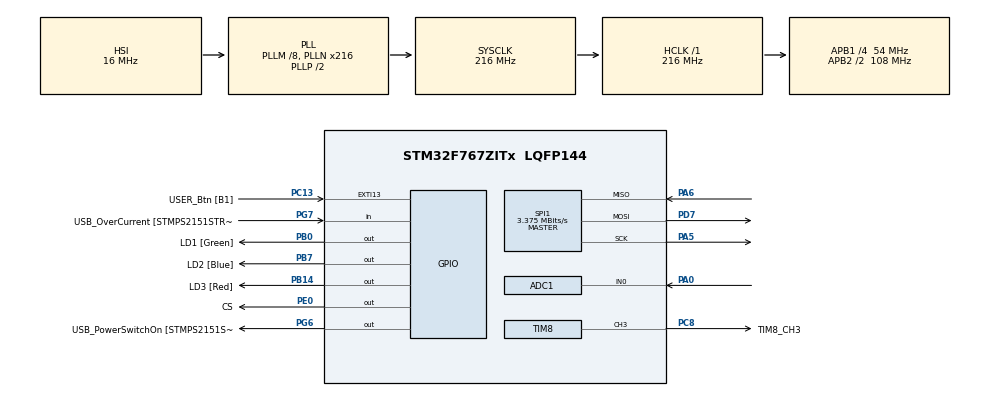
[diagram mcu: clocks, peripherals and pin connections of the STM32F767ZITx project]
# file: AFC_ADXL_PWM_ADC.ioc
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ADC1.Channel-0\#ChannelRegularConversion=ADC_CHANNEL_0
ADC1.ExternalTrigConv=ADC_EXTERNALTRIGCONV_T4_TRGO
ADC1.NbrOfConversionFlag=1
ADC1.Rank-0\#ChannelRegularConversion=1
ADC1.SamplingTime-0\#ChannelRegularConversion=ADC_SAMPLETIME_3CYCLES
ADC1.master=1
Dma.ADC1.0.Direction=DMA_PERIPH_TO_MEMORY
Dma.ADC1.0.FIFOMode=DMA_FIFOMODE_DISABLE
Dma.ADC1.0.Instance=DMA2_Stream0
Dma.ADC1.0.MemDataAlignment=DMA_MDATAALIGN_HALFWORD
Dma.ADC1.0.MemInc=DMA_MINC_ENABLE
Dma.ADC1.0.Mode=DMA_NORMAL
Dma.ADC1.0.PeriphDataAlignment=DMA_PDATAALIGN_HALFWORD
Dma.ADC1.0.PeriphInc=DMA_PINC_DISABLE
Dma.ADC1.0.Priority=DMA_PRIORITY_LOW
Dma.Request0=ADC1
FREERTOS.BinarySemaphores01=data_ready_sem,Dynamic,NULL,Available
FREERTOS.Mutexes01=buffer_mutex,Dynamic,NULL,Available
FREERTOS.Tasks01=defaultTask,24,128,StartDefaultTask,Default,NULL,Dynamic,NULL,NULL;ADC_Task,40,256,ADC_StartTask,Default,NULL,Dynamic,NULL,NULL;Ethernet_Task,32,256,Ethernet_StartTask,Default,NULL,Dynamic,NULL,NULL
FREERTOS.configUSE_NEWLIB_REENTRANT=1
Mcu.Family=STM32F7
Mcu.Name=STM32F767ZITx
Mcu.Package=LQFP144
NVIC.DMA2_Stream0_IRQn=true\:5\:0\:false\:false\:true\:true\:false\:true\:true
NVIC.PriorityGroup=NVIC_PRIORITYGROUP_4
NVIC.SPI1_IRQn=true\:5\:0\:false\:false\:true\:true\:true\:true\:true
NVIC.TIM2_IRQn=true\:5\:0\:false\:false\:true\:true\:true\:true\:true
NVIC.TIM3_IRQn=true\:6\:0\:true\:false\:true\:true\:true\:true\:true
NVIC.TIM6_DAC_IRQn=true\:15\:0\:false\:false\:true\:false\:false\:true\:true
NVIC.TimeBase=TIM6_DAC_IRQn
NVIC.TimeBaseIP=TIM6
PA0/WKUP.Signal=ADCx_IN0
PA1.GPIO_Label=RMII_REF_CLK [LAN8742A-CZ-TR_REFCLK0]
PA1.Signal=ETH_REF_CLK
PA10.GPIO_Label=USB_ID
PA10.Signal=USB_OTG_FS_ID
PA11.GPIO_Label=USB_DM
PA11.Signal=USB_OTG_FS_DM
PA12.GPIO_Label=USB_DP
PA12.Signal=USB_OTG_FS_DP
PA13.GPIO_Label=TMS
PA13.Signal=SYS_JTMS-SWDIO
PA14.GPIO_Label=TCK
PA14.Signal=SYS_JTCK-SWCLK
PA2.GPIO_Label=RMII_MDIO [LAN8742A-CZ-TR_MDIO]
PA2.Signal=ETH_MDIO
PA5.Mode=Full_Duplex_Master
PA5.Signal=SPI1_SCK
PA6.Mode=Full_Duplex_Master
PA6.Signal=SPI1_MISO
PA7.GPIO_Label=RMII_CRS_DV [LAN8742A-CZ-TR_CRS_DV]
PA7.Signal=ETH_CRS_DV
PA8.GPIO_Label=USB_SOF [TP1]
PA8.Signal=USB_OTG_FS_SOF
PA9.GPIO_Label=USB_VBUS
PA9.Signal=USB_OTG_FS_VBUS
PB0.GPIO_Label=LD1 [Green]
PB0.Signal=GPIO_Output
PB13.GPIO_Label=RMII_TXD1 [LAN8742A-CZ-TR_TXD1]
PB13.Signal=ETH_TXD1
PB14.GPIO_Label=LD3 [Red]
PB14.Signal=GPIO_Output
PB3.GPIO_Label=SW0
PB3.Signal=SYS_JTDO-SWO
PB7.GPIO_Label=LD2 [Blue]
PB7.Signal=GPIO_Output
PC1.GPIO_Label=RMII_MDC [LAN8742A-CZ-TR_MDC]
PC1.Signal=ETH_MDC
PC13.GPIO_Label=USER_Btn [B1]
PC13.Signal=GPXTI13
PC14/OSC32_IN.Signal=RCC_OSC32_IN
PC15/OSC32_OUT.Signal=RCC_OSC32_OUT
PC4.GPIO_Label=RMII_RXD0 [LAN8742A-CZ-TR_RXD0]
PC4.Signal=ETH_RXD0
PC5.GPIO_Label=RMII_RXD1 [LAN8742A-CZ-TR_RXD1]
PC5.Signal=ETH_RXD1
PC8.GPIO_Label=TIM8_CH3
PC8.GPIO_Speed=GPIO_SPEED_FREQ_HIGH
PC8.Signal=S_TIM8_CH3
PD7.Mode=Full_Duplex_Master
PD7.Signal=SPI1_MOSI
PD8.GPIO_Label=STLK_RX [STM32F103CBT6_PA3]
PD8.Signal=USART3_TX
PD9.GPIO_Label=STLK_TX [STM32F103CBT6_PA2]
PD9.Signal=USART3_RX
PE0.GPIO_Label=CS
PE0.Signal=GPIO_Output
PG11.GPIO_Label=RMII_TX_EN [LAN8742A-CZ-TR_TXEN]
PG11.Signal=ETH_TX_EN
PG13.GPIO_Label=RMII_TXD0 [LAN8742A-CZ-TR_TXD0]
PG13.Signal=ETH_TXD0
PG6.GPIO_Label=USB_PowerSwitchOn [STMPS2151STR_EN]
PG6.Signal=GPIO_Output
PG7.GPIO_Label=USB_OverCurrent [STMPS2151STR_FAULT]
PG7.Signal=GPIO_Input
PH0/OSC_IN.GPIO_Label=MCO [STM32F103CBT6_PA8]
PH0/OSC_IN.Signal=RCC_OSC_IN
PH1/OSC_OUT.Signal=RCC_OSC_OUT
ProjectManager.HeapSize=0x200
ProjectManager.StackSize=0x400
ProjectManager.TargetToolchain=STM32CubeIDE
RCC.48MHZClocksFreq_Value=24000000
RCC.AHBFreq_Value=216000000
RCC.APB1CLKDivider=RCC_HCLK_DIV4
RCC.APB1Freq_Value=54000000
RCC.APB1TimFreq_Value=108000000
RCC.APB2CLKDivider=RCC_HCLK_DIV2
RCC.APB2Freq_Value=108000000
RCC.APB2TimFreq_Value=216000000
RCC.CortexFreq_Value=216000000
RCC.HCLKFreq_Value=216000000
RCC.HSE_VALUE=16000000
RCC.HSI_VALUE=16000000
RCC.LSE_VALUE=32768
RCC.PLLM=8
RCC.PLLMUL=RCC_PLL_MUL9
RCC.PLLN=216
RCC.PRESCALERUSB=RCC_USBCLKSOURCE_PLL_DIV1_5
RCC.SYSCLKFreq_VALUE=216000000
RCC.SYSCLKSource=RCC_SYSCLKSOURCE_PLLCLK
RCC.SYSCLKSourceVirtual=RCC_SYSCLKSOURCE_PLLCLK
RCC.USBFreq_Value=216000000
RCC.VCOOutputFreq_Value=432000000
SH.ADCx_IN0.0=ADC1_IN0,IN0
SH.S_TIM8_CH3.0=TIM8_CH3,PWM Generation3 CH3
SPI1.BaudRatePrescaler=SPI_BAUDRATEPRESCALER_32
SPI1.CLKPhase=SPI_PHASE_2EDGE
SPI1.CLKPolarity=SPI_POLARITY_HIGH
SPI1.CalculateBaudRate=3.375 MBits/s
SPI1.DataSize=SPI_DATASIZE_8BIT
SPI1.Direction=SPI_DIRECTION_2LINES
SPI1.Mode=SPI_MODE_MASTER
SPI1.VirtualType=VM_MASTER
TIM2.Period=4
TIM2.Prescaler=10799
TIM3.AutoReloadPreload=TIM_AUTORELOAD_PRELOAD_ENABLE
TIM3.Period=312
TIM3.Prescaler=107
TIM3.TIM_MasterOutputTrigger=TIM_TRGO_UPDATE
TIM4.Period=19
TIM4.Prescaler=10799
TIM4.TIM_MasterOutputTrigger=TIM_TRGO_UPDATE
TIM8.AutoReloadPreload=TIM_AUTORELOAD_PRELOAD_ENABLE
TIM8.AutomaticOutput=TIM_AUTOMATICOUTPUT_DISABLE
TIM8.Channel-PWM\ Generation3\ CH3=TIM_CHANNEL_3
TIM8.OC3Preload_PWM=ENABLE
TIM8.OCFastMode_PWM-PWM\ Generation3\ CH3=TIM_OCFAST_ENABLE
TIM8.OCMode_PWM-PWM\ Generation3\ CH3=TIM_OCMODE_PWM1
TIM8.Period=99
TIM8.Prescaler=215
VP_FREERTOS_VS_CMSIS_V2.Mode=CMSIS_V2
VP_SYS_VS_tim6.Mode=TIM6
VP_TIM2_VS_ClockSourceINT.Mode=Internal
VP_TIM3_VS_ClockSourceINT.Mode=Internal
VP_TIM4_VS_ClockSourceINT.Mode=Internal
VP_TIM8_VS_ClockSourceINT.Mode=Internal
board=NUCLEO-F767ZI

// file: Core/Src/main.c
/* USER CODE BEGIN Header */
/**
  ******************************************************************************
  * @file           : main.c
  * @brief          : Main program body
  ******************************************************************************
  * @attention
  *
  * Copyright (c) 2025 STMicroelectronics.
  * All rights reserved.
  *
  * This software is licensed under terms that can be found in the LICENSE file
  * in the root directory of this software component.
  * If no LICENSE file comes with this software, it is provided AS-IS.
  *
  ******************************************************************************
  */
/* USER CODE END Header */
#include "main.h"
#include "cmsis_os.h"

/* USER CODE BEGIN Includes */
#include <string.h>
#include <stdio.h>
#include <stdbool.h>
#include "queue.h"
#include "semphr.h"

/* USER CODE END Includes */

/* USER CODE BEGIN PM */
// Double buffers for DMA ping-pong
uint8_t txBuf[7] = {0xF2, 0, 0, 0, 0, 0, 0};  // Read DATAX0
uint8_t rxBuf[7];

/* Buffer Definitions */
#define MINOR_CYCLES_PER_MAJOR 250  // 500ms/2ms

typedef struct {
    uint16_t data[MINOR_CYCLES_PER_MAJOR];
    uint16_t count;                 // Current fill level
    bool ready;                     // Buffer ready for processing
} ADC_Buffer_t;

// Double buffer declaration
ADC_Buffer_t adc_buffers[2];
volatile uint8_t active_buffer = 0;  // Currently filling buffer

#define SINE_SAMPLES 95  // Number of points in sine wave

const uint16_t sineLookup[SINE_SAMPLES] = {
    50, 53, 56, 59, 62, 65, 68, 71, 74, 77,
    80, 82, 85, 87, 89, 91, 93, 95, 96, 97,
    98, 99, 99, 99, 99, 99, 98, 97, 96, 95,
    93, 91, 89, 87, 85, 82, 80, 77, 74, 71,
    68, 65, 62, 59, 56, 53, 50, 47, 44, 41,
    38, 35, 32, 29, 26, 23, 20, 18, 15, 13,
    11, 9, 7, 6, 5, 4, 3, 2, 1, 1,
    1, 1, 1, 2, 3, 4, 5, 6, 7, 9,
    11, 13, 15, 18, 20, 23, 26, 29, 32, 35,
    38, 41, 44, 47, 50  // Back to start
};

/* USER CODE END PM */

ADC_HandleTypeDef hadc1;
DMA_HandleTypeDef hdma_adc1;

SPI_HandleTypeDef hspi1;

TIM_HandleTypeDef htim2;
TIM_HandleTypeDef htim3;
TIM_HandleTypeDef htim4;
TIM_HandleTypeDef htim8;

/* Definitions for defaultTask */
osThreadId_t defaultTaskHandle;
const osThreadAttr_t defaultTask_attributes = {
  .name = "defaultTask",
  .stack_size = 128 * 4,
  .priority = (osPriority_t) osPriorityNormal,
};
/* Definitions for ADC_Task */
osThreadId_t ADC_TaskHandle;
const osThreadAttr_t ADC_Task_attributes = {
  .name = "ADC_Task",
  .stack_size = 256 * 4,
  .priority = (osPriority_t) osPriorityHigh,
};
/* Definitions for Ethernet_Task */
osThreadId_t Ethernet_TaskHandle;
const osThreadAttr_t Ethernet_Task_attributes = {
  .name = "Ethernet_Task",
  .stack_size = 256 * 4,
  .priority = (osPriority_t) osPriorityAboveNormal,
};
/* Definitions for buffer_mutex */
osMutexId_t buffer_mutexHandle;
const osMutexAttr_t buffer_mutex_attributes = {
  .name = "buffer_mutex"
};
/* Definitions for data_ready_sem */
osSemaphoreId_t data_ready_semHandle;
const osSemaphoreAttr_t data_ready_sem_attributes = {
  .name = "data_ready_sem"
};

void SystemClock_Config(void);
static void MX_GPIO_Init(void);
static void MX_DMA_Init(void);
static void MX_SPI1_Init(void);
static void MX_TIM3_Init(void);
static void MX_TIM2_Init(void);
static void MX_TIM8_Init(void);
static void MX_ADC1_Init(void);
static void MX_TIM4_Init(void);
void StartDefaultTask(void *argument);
void ADC_StartTask(void *argument);
void Ethernet_StartTask(void *argument);

int main(void)
{

  /* MCU Configuration--------------------------------------------------------*/

  /* Reset of all peripherals, Initializes the Flash interface and the Systick. */
  HAL_Init();

  /* Configure the system clock */
  SystemClock_Config();

  /* Initialize all configured peripherals */
  MX_GPIO_Init();
  MX_DMA_Init();
  MX_SPI1_Init();
  MX_TIM3_Init();
  MX_TIM2_Init();
  MX_TIM8_Init();
  MX_ADC1_Init();
  MX_TIM4_Init();
  /* USER CODE BEGIN 2 */

  ADXL345_Init();

  //Test_ADXL345();

  HAL_TIM_Base_Start_IT(&htim3);  // Start TIM3 @ 3.2kHz

  // Start PWM (TIM8) and update timer (TIM2)

  HAL_TIM_PWM_Start(&htim8, TIM_CHANNEL_3);
  HAL_TIM_Base_Start_IT(&htim2);

  __HAL_TIM_SET_COMPARE(&htim8, TIM_CHANNEL_3, 50);

  HAL_TIM_Base_Start(&htim4);  // Start ADC trigger timer
  HAL_ADC_Start_DMA(&hadc1, (uint32_t*)adc_buffers, MINOR_CYCLES_PER_MAJOR);

  // Enable the CYCCNT counter

    CoreDebug->DEMCR |= CoreDebug_DEMCR_TRCENA_Msk;

    DWT->LAR = 0xC5ACCE55;

    DWT->CYCCNT = 0;

    DWT->CTRL |= DWT_CTRL_CYCCNTENA_Msk;
    NVIC_SetPriorityGrouping( 0 );

    //SEGGER_SYSVIEW_Conf();
    //SEGGER_SYSVIEW_Start();

  /* USER CODE END 2 */

  /* Init scheduler */
  osKernelInitialize();
  /* Create the mutex(es) */
  /* creation of buffer_mutex */
  buffer_mutexHandle = osMutexNew(&buffer_mutex_attributes);

  /* Create the semaphores(s) */
  /* creation of data_ready_sem */
  data_ready_semHandle = osSemaphoreNew(1, 1, &data_ready_sem_attributes);

  /* Create the thread(s) */
  /* creation of defaultTask */
  defaultTaskHandle = osThreadNew(StartDefaultTask, NULL, &defaultTask_attributes);

  /* creation of ADC_Task */
  ADC_TaskHandle = osThreadNew(ADC_StartTask, NULL, &ADC_Task_attributes);

  /* creation of Ethernet_Task */
  Ethernet_TaskHandle = osThreadNew(Ethernet_StartTask, NULL, &Ethernet_Task_attributes);

  /* Start scheduler */
  osKernelStart();

  /* We should never get here as control is now taken by the scheduler */

  /* Infinite loop */
  while (1)
  {

  }
}

void SystemClock_Config(void)
{
  RCC_OscInitTypeDef RCC_OscInitStruct = {0};
  RCC_ClkInitTypeDef RCC_ClkInitStruct = {0};

  /** Configure the main internal regulator output voltage
  */
  __HAL_RCC_PWR_CLK_ENABLE();
  __HAL_PWR_VOLTAGESCALING_CONFIG(PWR_REGULATOR_VOLTAGE_SCALE1);

  /** Initializes the RCC Oscillators according to the specified parameters
  * in the RCC_OscInitTypeDef structure.
  */
  RCC_OscInitStruct.OscillatorType = RCC_OSCILLATORTYPE_HSI;
  RCC_OscInitStruct.HSIState = RCC_HSI_ON;
  RCC_OscInitStruct.HSICalibrationValue = RCC_HSICALIBRATION_DEFAULT;
  RCC_OscInitStruct.PLL.PLLState = RCC_PLL_ON;
  RCC_OscInitStruct.PLL.PLLSource = RCC_PLLSOURCE_HSI;
  RCC_OscInitStruct.PLL.PLLM = 8;
  RCC_OscInitStruct.PLL.PLLN = 216;
  RCC_OscInitStruct.PLL.PLLP = RCC_PLLP_DIV2;
  RCC_OscInitStruct.PLL.PLLQ = 2;
  RCC_OscInitStruct.PLL.PLLR = 2;
  if (HAL_RCC_OscConfig(&RCC_OscInitStruct) != HAL_OK)
  {
    Error_Handler();
  }

  /** Activate the Over-Drive mode
  */
  if (HAL_PWREx_EnableOverDrive() != HAL_OK)
  {
    Error_Handler();
  }

  /** Initializes the CPU, AHB and APB buses clocks
  */
  RCC_ClkInitStruct.ClockType = RCC_CLOCKTYPE_HCLK|RCC_CLOCKTYPE_SYSCLK
                              |RCC_CLOCKTYPE_PCLK1|RCC_CLOCKTYPE_PCLK2;
  RCC_ClkInitStruct.SYSCLKSource = RCC_SYSCLKSOURCE_PLLCLK;
  RCC_ClkInitStruct.AHBCLKDivider = RCC_SYSCLK_DIV1;
  RCC_ClkInitStruct.APB1CLKDivider = RCC_HCLK_DIV4;
  RCC_ClkInitStruct.APB2CLKDivider = RCC_HCLK_DIV2;

  if (HAL_RCC_ClockConfig(&RCC_ClkInitStruct, FLASH_LATENCY_7) != HAL_OK)
  {
    Error_Handler();
  }
}

static void MX_ADC1_Init(void)
{

  ADC_ChannelConfTypeDef sConfig = {0};

  /** Configure the global features of the ADC (Clock, Resolution, Data Alignment and number of conversion)
  */
  hadc1.Instance = ADC1;
  hadc1.Init.ClockPrescaler = ADC_CLOCK_SYNC_PCLK_DIV4;
  hadc1.Init.Resolution = ADC_RESOLUTION_12B;
  hadc1.Init.ScanConvMode = ADC_SCAN_DISABLE;
  hadc1.Init.ContinuousConvMode = DISABLE;
  hadc1.Init.DiscontinuousConvMode = DISABLE;
  hadc1.Init.ExternalTrigConvEdge = ADC_EXTERNALTRIGCONVEDGE_RISING;
  hadc1.Init.ExternalTrigConv = ADC_EXTERNALTRIGCONV_T4_TRGO;
  hadc1.Init.DataAlign = ADC_DATAALIGN_RIGHT;
  hadc1.Init.NbrOfConversion = 1;
  hadc1.Init.DMAContinuousRequests = DISABLE;
  hadc1.Init.EOCSelection = ADC_EOC_SINGLE_CONV;
  if (HAL_ADC_Init(&hadc1) != HAL_OK)
  {
    Error_Handler();
  }

  /** Configure for the selected ADC regular channel its corresponding rank in the sequencer and its sample time.
  */
  sConfig.Channel = ADC_CHANNEL_0;
  sConfig.Rank = ADC_REGULAR_RANK_1;
  sConfig.SamplingTime = ADC_SAMPLETIME_3CYCLES;
  if (HAL_ADC_ConfigChannel(&hadc1, &sConfig) != HAL_OK)
  {
    Error_Handler();
  }

}

static void MX_SPI1_Init(void)
{

  /* SPI1 parameter configuration*/
  hspi1.Instance = SPI1;
  hspi1.Init.Mode = SPI_MODE_MASTER;
  hspi1.Init.Direction = SPI_DIRECTION_2LINES;
  hspi1.Init.DataSize = SPI_DATASIZE_8BIT;
  hspi1.Init.CLKPolarity = SPI_POLARITY_HIGH;
  hspi1.Init.CLKPhase = SPI_PHASE_2EDGE;
  hspi1.Init.NSS = SPI_NSS_SOFT;
  hspi1.Init.BaudRatePrescaler = SPI_BAUDRATEPRESCALER_32;
  hspi1.Init.FirstBit = SPI_FIRSTBIT_MSB;
  hspi1.Init.TIMode = SPI_TIMODE_DISABLE;
  hspi1.Init.CRCCalculation = SPI_CRCCALCULATION_DISABLE;
  hspi1.Init.CRCPolynomial = 7;
  hspi1.Init.CRCLength = SPI_CRC_LENGTH_DATASIZE;
  hspi1.Init.NSSPMode = SPI_NSS_PULSE_DISABLE;
  if (HAL_SPI_Init(&hspi1) != HAL_OK)
  {
    Error_Handler();
  }

}

static void MX_TIM2_Init(void)
{

  TIM_ClockConfigTypeDef sClockSourceConfig = {0};
  TIM_MasterConfigTypeDef sMasterConfig = {0};

  htim2.Instance = TIM2;
  htim2.Init.Prescaler = 10799;
  htim2.Init.CounterMode = TIM_COUNTERMODE_UP;
  htim2.Init.Period = 4;
  htim2.Init.ClockDivision = TIM_CLOCKDIVISION_DIV1;
  htim2.Init.AutoReloadPreload = TIM_AUTORELOAD_PRELOAD_DISABLE;
  if (HAL_TIM_Base_Init(&htim2) != HAL_OK)
  {
    Error_Handler();
  }
  sClockSourceConfig.ClockSource = TIM_CLOCKSOURCE_INTERNAL;
  if (HAL_TIM_ConfigClockSource(&htim2, &sClockSourceConfig) != HAL_OK)
  {
    Error_Handler();
  }
  sMasterConfig.MasterOutputTrigger = TIM_TRGO_RESET;
  sMasterConfig.MasterSlaveMode = TIM_MASTERSLAVEMODE_DISABLE;
  if (HAL_TIMEx_MasterConfigSynchronization(&htim2, &sMasterConfig) != HAL_OK)
  {
    Error_Handler();
  }

}

static void MX_TIM3_Init(void)
{

  TIM_ClockConfigTypeDef sClockSourceConfig = {0};
  TIM_MasterConfigTypeDef sMasterConfig = {0};

  htim3.Instance = TIM3;
  htim3.Init.Prescaler = 107;
  htim3.Init.CounterMode = TIM_COUNTERMODE_UP;
  htim3.Init.Period = 312;
  htim3.Init.ClockDivision = TIM_CLOCKDIVISION_DIV1;
  htim3.Init.AutoReloadPreload = TIM_AUTORELOAD_PRELOAD_ENABLE;
  if (HAL_TIM_Base_Init(&htim3) != HAL_OK)
  {
    Error_Handler();
  }
  sClockSourceConfig.ClockSource = TIM_CLOCKSOURCE_INTERNAL;
  if (HAL_TIM_ConfigClockSource(&htim3, &sClockSourceConfig) != HAL_OK)
  {
    Error_Handler();
  }
  sMasterConfig.MasterOutputTrigger = TIM_TRGO_UPDATE;
  sMasterConfig.MasterSlaveMode = TIM_MASTERSLAVEMODE_DISABLE;
  if (HAL_TIMEx_MasterConfigSynchronization(&htim3, &sMasterConfig) != HAL_OK)
  {
    Error_Handler();
  }

}

static void MX_TIM4_Init(void)
{

  TIM_ClockConfigTypeDef sClockSourceConfig = {0};
  TIM_MasterConfigTypeDef sMasterConfig = {0};

  htim4.Instance = TIM4;
  htim4.Init.Prescaler = 10799;
  htim4.Init.CounterMode = TIM_COUNTERMODE_UP;
  htim4.Init.Period = 19;
  htim4.Init.ClockDivision = TIM_CLOCKDIVISION_DIV1;
  htim4.Init.AutoReloadPreload = TIM_AUTORELOAD_PRELOAD_DISABLE;
  if (HAL_TIM_Base_Init(&htim4) != HAL_OK)
  {
    Error_Handler();
  }
  sClockSourceConfig.ClockSource = TIM_CLOCKSOURCE_INTERNAL;
  if (HAL_TIM_ConfigClockSource(&htim4, &sClockSourceConfig) != HAL_OK)
  {
    Error_Handler();
  }
  sMasterConfig.MasterOutputTrigger = TIM_TRGO_UPDATE;
  sMasterConfig.MasterSlaveMode = TIM_MASTERSLAVEMODE_DISABLE;
  if (HAL_TIMEx_MasterConfigSynchronization(&htim4, &sMasterConfig) != HAL_OK)
  {
    Error_Handler();
  }

}

static void MX_TIM8_Init(void)
{

  TIM_ClockConfigTypeDef sClockSourceConfig = {0};
  TIM_MasterConfigTypeDef sMasterConfig = {0};
  TIM_OC_InitTypeDef sConfigOC = {0};
  TIM_BreakDeadTimeConfigTypeDef sBreakDeadTimeConfig = {0};

  htim8.Instance = TIM8;
  htim8.Init.Prescaler = 215;
  htim8.Init.CounterMode = TIM_COUNTERMODE_UP;
  htim8.Init.Period = 99;
  htim8.Init.ClockDivision = TIM_CLOCKDIVISION_DIV1;
  htim8.Init.RepetitionCounter = 0;
  htim8.Init.AutoReloadPreload = TIM_AUTORELOAD_PRELOAD_ENABLE;
  if (HAL_TIM_Base_Init(&htim8) != HAL_OK)
  {
    Error_Handler();
  }
  sClockSourceConfig.ClockSource = TIM_CLOCKSOURCE_INTERNAL;
  if (HAL_TIM_ConfigClockSource(&htim8, &sClockSourceConfig) != HAL_OK)
  {
    Error_Handler();
  }
  if (HAL_TIM_PWM_Init(&htim8) != HAL_OK)
  {
    Error_Handler();
  }
  sMasterConfig.MasterOutputTrigger = TIM_TRGO_RESET;
  sMasterConfig.MasterOutputTrigger2 = TIM_TRGO2_RESET;
  sMasterConfig.MasterSlaveMode = TIM_MASTERSLAVEMODE_DISABLE;
  if (HAL_TIMEx_MasterConfigSynchronization(&htim8, &sMasterConfig) != HAL_OK)
  {
    Error_Handler();
  }
  sConfigOC.OCMode = TIM_OCMODE_PWM1;
  sConfigOC.Pulse = 0;
  sConfigOC.OCPolarity = TIM_OCPOLARITY_HIGH;
  sConfigOC.OCNPolarity = TIM_OCNPOLARITY_HIGH;
  sConfigOC.OCFastMode = TIM_OCFAST_ENABLE;
  sConfigOC.OCIdleState = TIM_OCIDLESTATE_RESET;
  sConfigOC.OCNIdleState = TIM_OCNIDLESTATE_RESET;
  if (HAL_TIM_PWM_ConfigChannel(&htim8, &sConfigOC, TIM_CHANNEL_3) != HAL_OK)
  {
    Error_Handler();
  }
  sBreakDeadTimeConfig.OffStateRunMode = TIM_OSSR_DISABLE;
  sBreakDeadTimeConfig.OffStateIDLEMode = TIM_OSSI_DISABLE;
  sBreakDeadTimeConfig.LockLevel = TIM_LOCKLEVEL_OFF;
  sBreakDeadTimeConfig.DeadTime = 0;
  sBreakDeadTimeConfig.BreakState = TIM_BREAK_DISABLE;
  sBreakDeadTimeConfig.BreakPolarity = TIM_BREAKPOLARITY_HIGH;
  sBreakDeadTimeConfig.BreakFilter = 0;
  sBreakDeadTimeConfig.Break2State = TIM_BREAK2_DISABLE;
  sBreakDeadTimeConfig.Break2Polarity = TIM_BREAK2POLARITY_HIGH;
  sBreakDeadTimeConfig.Break2Filter = 0;
  sBreakDeadTimeConfig.AutomaticOutput = TIM_AUTOMATICOUTPUT_DISABLE;
  if (HAL_TIMEx_ConfigBreakDeadTime(&htim8, &sBreakDeadTimeConfig) != HAL_OK)
  {
    Error_Handler();
  }
  HAL_TIM_MspPostInit(&htim8);

}

static void MX_DMA_Init(void)
{

  /* DMA controller clock enable */
  __HAL_RCC_DMA2_CLK_ENABLE();

  /* DMA interrupt init */
  /* DMA2_Stream0_IRQn interrupt configuration */
  HAL_NVIC_SetPriority(DMA2_Stream0_IRQn, 5, 0);
  HAL_NVIC_EnableIRQ(DMA2_Stream0_IRQn);

}

static void MX_GPIO_Init(void)
{
  GPIO_InitTypeDef GPIO_InitStruct = {0};

  /* GPIO Ports Clock Enable */
  __HAL_RCC_GPIOC_CLK_ENABLE();
  __HAL_RCC_GPIOH_CLK_ENABLE();
  __HAL_RCC_GPIOA_CLK_ENABLE();
  __HAL_RCC_GPIOB_CLK_ENABLE();
  __HAL_RCC_GPIOD_CLK_ENABLE();
  __HAL_RCC_GPIOG_CLK_ENABLE();
  __HAL_RCC_GPIOE_CLK_ENABLE();

  /*Configure GPIO pin Output Level */
  HAL_GPIO_WritePin(GPIOB, LD1_Pin|LD3_Pin|LD2_Pin, GPIO_PIN_RESET);

  /*Configure GPIO pin Output Level */
  HAL_GPIO_WritePin(USB_PowerSwitchOn_GPIO_Port, USB_PowerSwitchOn_Pin, GPIO_PIN_RESET);

  /*Configure GPIO pin Output Level */
  HAL_GPIO_WritePin(CS_GPIO_Port, CS_Pin, GPIO_PIN_RESET);

  /*Configure GPIO pin : USER_Btn_Pin */
  GPIO_InitStruct.Pin = USER_Btn_Pin;
  GPIO_InitStruct.Mode = GPIO_MODE_IT_RISING;
  GPIO_InitStruct.Pull = GPIO_NOPULL;
  HAL_GPIO_Init(USER_Btn_GPIO_Port, &GPIO_InitStruct);

  /*Configure GPIO pins : RMII_MDC_Pin RMII_RXD0_Pin RMII_RXD1_Pin */
  GPIO_InitStruct.Pin = RMII_MDC_Pin|RMII_RXD0_Pin|RMII_RXD1_Pin;
  GPIO_InitStruct.Mode = GPIO_MODE_AF_PP;
  GPIO_InitStruct.Pull = GPIO_NOPULL;
  GPIO_InitStruct.Speed = GPIO_SPEED_FREQ_VERY_HIGH;
  GPIO_InitStruct.Alternate = GPIO_AF11_ETH;
  HAL_GPIO_Init(GPIOC, &GPIO_InitStruct);

  /*Configure GPIO pins : RMII_REF_CLK_Pin RMII_MDIO_Pin RMII_CRS_DV_Pin */
  GPIO_InitStruct.Pin = RMII_REF_CLK_Pin|RMII_MDIO_Pin|RMII_CRS_DV_Pin;
  GPIO_InitStruct.Mode = GPIO_MODE_AF_PP;
  GPIO_InitStruct.Pull = GPIO_NOPULL;
  GPIO_InitStruct.Speed = GPIO_SPEED_FREQ_VERY_HIGH;
  GPIO_InitStruct.Alternate = GPIO_AF11_ETH;
  HAL_GPIO_Init(GPIOA, &GPIO_InitStruct);

  /*Configure GPIO pins : LD1_Pin LD3_Pin LD2_Pin */
  GPIO_InitStruct.Pin = LD1_Pin|LD3_Pin|LD2_Pin;
  GPIO_InitStruct.Mode = GPIO_MODE_OUTPUT_PP;
  GPIO_InitStruct.Pull = GPIO_NOPULL;
  GPIO_InitStruct.Speed = GPIO_SPEED_FREQ_LOW;
  HAL_GPIO_Init(GPIOB, &GPIO_InitStruct);

  /*Configure GPIO pin : RMII_TXD1_Pin */
  GPIO_InitStruct.Pin = RMII_TXD1_Pin;
  GPIO_InitStruct.Mode = GPIO_MODE_AF_PP;
  GPIO_InitStruct.Pull = GPIO_NOPULL;
  GPIO_InitStruct.Speed = GPIO_SPEED_FREQ_VERY_HIGH;
  GPIO_InitStruct.Alternate = GPIO_AF11_ETH;
  HAL_GPIO_Init(RMII_TXD1_GPIO_Port, &GPIO_InitStruct);

  /*Configure GPIO pins : STLK_RX_Pin STLK_TX_Pin */
  GPIO_InitStruct.Pin = STLK_RX_Pin|STLK_TX_Pin;
  GPIO_InitStruct.Mode = GPIO_MODE_AF_PP;
  GPIO_InitStruct.Pull = GPIO_NOPULL;
  GPIO_InitStruct.Speed = GPIO_SPEED_FREQ_VERY_HIGH;
  GPIO_InitStruct.Alternate = GPIO_AF7_USART3;
  HAL_GPIO_Init(GPIOD, &GPIO_InitStruct);

  /*Configure GPIO pin : USB_PowerSwitchOn_Pin */
  GPIO_InitStruct.Pin = USB_PowerSwitchOn_Pin;
  GPIO_InitStruct.Mode = GPIO_MODE_OUTPUT_PP;
  GPIO_InitStruct.Pull = GPIO_NOPULL;
  GPIO_InitStruct.Speed = GPIO_SPEED_FREQ_LOW;
  HAL_GPIO_Init(USB_PowerSwitchOn_GPIO_Port, &GPIO_InitStruct);

  /*Configure GPIO pin : USB_OverCurrent_Pin */
  GPIO_InitStruct.Pin = USB_OverCurrent_Pin;
  GPIO_InitStruct.Mode = GPIO_MODE_INPUT;
  GPIO_InitStruct.Pull = GPIO_NOPULL;
  HAL_GPIO_Init(USB_OverCurrent_GPIO_Port, &GPIO_InitStruct);

  /*Configure GPIO pins : USB_SOF_Pin USB_ID_Pin USB_DM_Pin USB_DP_Pin */
  GPIO_InitStruct.Pin = USB_SOF_Pin|USB_ID_Pin|USB_DM_Pin|USB_DP_Pin;
  GPIO_InitStruct.Mode = GPIO_MODE_AF_PP;
  GPIO_InitStruct.Pull = GPIO_NOPULL;
  GPIO_InitStruct.Speed = GPIO_SPEED_FREQ_VERY_HIGH;
  GPIO_InitStruct.Alternate = GPIO_AF10_OTG_FS;
  HAL_GPIO_Init(GPIOA, &GPIO_InitStruct);

  /*Configure GPIO pin : USB_VBUS_Pin */
  GPIO_InitStruct.Pin = USB_VBUS_Pin;
  GPIO_InitStruct.Mode = GPIO_MODE_INPUT;
  GPIO_InitStruct.Pull = GPIO_NOPULL;
  HAL_GPIO_Init(USB_VBUS_GPIO_Port, &GPIO_InitStruct);

  /*Configure GPIO pins : RMII_TX_EN_Pin RMII_TXD0_Pin */
  GPIO_InitStruct.Pin = RMII_TX_EN_Pin|RMII_TXD0_Pin;
  GPIO_InitStruct.Mode = GPIO_MODE_AF_PP;
  GPIO_InitStruct.Pull = GPIO_NOPULL;
  GPIO_InitStruct.Speed = GPIO_SPEED_FREQ_VERY_HIGH;
  GPIO_InitStruct.Alternate = GPIO_AF11_ETH;
  HAL_GPIO_Init(GPIOG, &GPIO_InitStruct);

  /*Configure GPIO pin : CS_Pin */
  GPIO_InitStruct.Pin = CS_Pin;
  GPIO_InitStruct.Mode = GPIO_MODE_OUTPUT_PP;
  GPIO_InitStruct.Pull = GPIO_NOPULL;
  GPIO_InitStruct.Speed = GPIO_SPEED_FREQ_LOW;
  HAL_GPIO_Init(CS_GPIO_Port, &GPIO_InitStruct);

}

/* USER CODE BEGIN 4 */
uint8_t ADXL345_ReadRegister(uint8_t reg) {
    uint8_t tx[2] = {reg | 0x80, 0x00};  // Set read bit
    uint8_t rx[2] = {0};

    HAL_GPIO_WritePin(CS_GPIO_Port, CS_Pin, GPIO_PIN_RESET);
    HAL_SPI_TransmitReceive(&hspi1, tx, rx, 2, HAL_MAX_DELAY);
    HAL_GPIO_WritePin(CS_GPIO_Port, CS_Pin, GPIO_PIN_SET);

    return rx[1];
}

void ADXL345_WriteRegister(uint8_t reg, uint8_t val) {
    HAL_GPIO_WritePin(CS_GPIO_Port, CS_Pin, GPIO_PIN_RESET);
    uint8_t data[2] = {reg, val};
    HAL_SPI_Transmit(&hspi1, data, 2, HAL_MAX_DELAY);
    HAL_GPIO_WritePin(CS_GPIO_Port, CS_Pin, GPIO_PIN_SET);
}

void ADXL345_Init(void) {
    // 1. Power on and set measurement mode
    ADXL345_WriteRegister(0x2D, 0x00);  // Soft reset (optional)
    ADXL345_WriteRegister(0x2D, 0x08);  // POWER_CTL: Measure mode

    // 2. Set data rate and range
    ADXL345_WriteRegister(0x2C, 0x0F);  // BW_RATE: 3200Hz
    ADXL345_WriteRegister(0x31, 0x0B);  // DATA_FORMAT: ±16g, full res

}

volatile int timer_call_count = 0;
volatile int dma_call_count = 0;

void ADXL345_ReadXYZ(int16_t *x, int16_t *y, int16_t *z) {
    uint8_t txBuf[7] = {0xF2, 0, 0, 0, 0, 0, 0}; // 0xF2 = 0x80 | 0x40 | 0x32
    uint8_t rxBuf[7];

    HAL_GPIO_WritePin(CS_GPIO_Port, CS_Pin, GPIO_PIN_RESET);
    HAL_SPI_TransmitReceive(&hspi1, txBuf, rxBuf, 7, 100);
    HAL_GPIO_WritePin(CS_GPIO_Port, CS_Pin, GPIO_PIN_SET);

    *x = (int16_t)((rxBuf[2] << 8) | rxBuf[1]);
    *y = (int16_t)((rxBuf[4] << 8) | rxBuf[3]);
    *z = (int16_t)((rxBuf[6] << 8) | rxBuf[5]);
}

uint8_t ADXL345_ReadDEVID(void) {
    uint8_t tx[2] = {0x00 | 0x80, 0x00};  // 0x80 = Read flag
    uint8_t rx[2] = {0};

    HAL_GPIO_WritePin(CS_GPIO_Port, CS_Pin, GPIO_PIN_RESET);
    HAL_SPI_TransmitReceive(&hspi1, tx, rx, 2, HAL_MAX_DELAY);
    HAL_GPIO_WritePin(CS_GPIO_Port, CS_Pin, GPIO_PIN_SET);

    return rx[1];  // Second byte is the DEVID value
}

void Test_ADXL345() {
    printf("Checking ADXL345...\n");

    // 1. Verify communication
    uint8_t id = ADXL345_ReadDEVID();
    printf("WHO_AM_I: 0x%02X (%s)\n", id, (id == 0xE5) ? "OK" : "FAIL");

    // 2. Continuous data read
    int16_t x, y, z;
    while(1) {
        ADXL345_ReadXYZ(&x, &y, &z);

        // Raw values (LSB = ~3.9mg @ ±2g range)
        //printf("X=%6d, Y=%6d, Z=%6d\r", x, y, z);

        float scale = 0.0039f;  // 3.9 mg/LSB for full-resolution mode
        printf("X=%.2fg Y=%.2fg Z=%.2fg\r\n", x * scale, y * scale, z * scale);

        HAL_Delay(100); // Adjust as needed
    }
}

void HAL_SPI_TxRxCpltCallback(SPI_HandleTypeDef *hspi) {
    if (hspi->Instance == SPI1) {
        HAL_GPIO_WritePin(CS_GPIO_Port, CS_Pin, GPIO_PIN_SET);
        txBuf[0] = 0xF2;  // Reset read command (0x80 | 0x32)

        // Process completed buffer
        int16_t x = (rxBuf[2] << 8) | rxBuf[1];
        int16_t y = (rxBuf[4] << 8) | rxBuf[3];
        int16_t z = (rxBuf[6] << 8) | rxBuf[5];

        dma_call_count++;
        //HAL_GPIO_TogglePin(LD1_GPIO_Port, LD1_Pin);  // Debug pin

        float scale = 0.0039f;  // 3.9 mg/LSB for full-resolution mode
        printf("X=%.2fg Y=%.2fg Z=%.2fg\r\n", x * scale, y * scale, z * scale);

    }

}

/* ADC Complete Callback */
void HAL_ADC_ConvCpltCallback(ADC_HandleTypeDef* hadc) {
    BaseType_t xHigherPriorityTaskWoken = pdFALSE;

    //printf("Entered2\n");
    //HAL_GPIO_TogglePin(LD1_GPIO_Port, LD1_Pin);
    // Notify ADC Task
    vTaskNotifyGiveFromISR(ADC_TaskHandle, &xHigherPriorityTaskWoken);
    portYIELD_FROM_ISR(xHigherPriorityTaskWoken);
}

/* USER CODE END 4 */

void StartDefaultTask(void *argument)
{
  /* USER CODE BEGIN 5 */
  /* Infinite loop */
	for(;;) {
		//SEGGER_SYSVIEW_Print("Waiting for ADC data");
		// Add these checks
		if(TIM4->CR2 & TIM_CR2_MMS_1) {
		    //HAL_GPIO_TogglePin(LD1_GPIO_Port, LD1_Pin); // Should blink at 250Hz
		    HAL_Delay(10);
		}

		// Check ADC status
		//printf("ADC CR2: 0x%08lX\n", hadc1.Instance->CR2);
	}

  /* USER CODE END 5 */
}

void ADC_StartTask(void *argument)
{
  /* USER CODE BEGIN ADC_StartTask */
  /* Infinite loop */

    // Initialize buffers
    adc_buffers[0].count = 0;
    adc_buffers[0].ready = false;
    adc_buffers[1].count = 0;
    adc_buffers[1].ready = false;

    // Start ADC with DMA
    HAL_ADC_Start_DMA(&hadc1, (uint32_t*)&adc_buffers[active_buffer].data[adc_buffers[active_buffer].count], 1);
	//printf("Entered\n");

	for(;;) {
		// Wait for conversion complete
		ulTaskNotifyTake(pdTRUE, portMAX_DELAY);

		// Process the sample if needed
//		printf("ADC Sample[%lu]: %hu (Voltage: %.2fV)\n",
//				adc_buffers[active_buffer].count,
//				adc_buffers[active_buffer].data[adc_buffers[active_buffer].count],
//				adc_buffers[active_buffer].data[adc_buffers[active_buffer].count] * 3.3f / 4095);

		// Increment buffer count
		adc_buffers[active_buffer].count++;

		// Check if buffer is full (major cycle complete)
		if(adc_buffers[active_buffer].count >= MINOR_CYCLES_PER_MAJOR) {
			// Take mutex to safely switch buffers
			if(xSemaphoreTake(buffer_mutexHandle, pdMS_TO_TICKS(10)) == pdTRUE) {
				// Mark current buffer as ready
				adc_buffers[active_buffer].ready = true;

				// Switch to other buffer
				active_buffer = 1 - active_buffer;

				// Reset the new active buffer
				adc_buffers[active_buffer].count = 0;
				adc_buffers[active_buffer].ready = false;

				// Release mutex
				xSemaphoreGive(buffer_mutexHandle);

				// Signal Ethernet task that data is ready
				xSemaphoreGive(data_ready_semHandle);
			}
		}

		// Stop previous DMA (important!)
		HAL_ADC_Stop_DMA(&hadc1);

		// Start next conversion at current position in active buffer
		HAL_ADC_Start_DMA(&hadc1,
				(uint32_t*)&adc_buffers[active_buffer].data[adc_buffers[active_buffer].count],
				1);
	}

  /* USER CODE END ADC_StartTask */
}

void Ethernet_StartTask(void *argument)
{
  /* USER CODE BEGIN Ethernet_StartTask */
  /* Infinite loop */
  for(;;)
  {
	  // Wait for buffer to be ready
	  if(xSemaphoreTake(data_ready_semHandle, portMAX_DELAY) == pdTRUE) {
		  // Take mutex to safely access the completed buffer
		  if(xSemaphoreTake(buffer_mutexHandle, portMAX_DELAY) == pdTRUE) {
			  // Determine which buffer is ready (not the active one)
			  uint8_t buffer_to_send = 1 - active_buffer;

			  HAL_GPIO_TogglePin(LD1_GPIO_Port, LD1_Pin);
			  // Verify buffer is actually ready
			  if(adc_buffers[buffer_to_send].ready) {
				  // Release mutex early since we're just reading
				  xSemaphoreGive(buffer_mutexHandle);

				  // Transmit data over Ethernet
				  // This is where I'd call the Ethernet transmission function

				  // For demonstration, just printing that we're sending
				  //printf("Sending %d ADC samples over Ethernet\n", MINOR_CYCLES_PER_MAJOR);

				  // After transmission, take mutex again to mark buffer as processed
				  if(xSemaphoreTake(buffer_mutexHandle, portMAX_DELAY) == pdTRUE) {
					  adc_buffers[buffer_to_send].ready = false;
					  xSemaphoreGive(buffer_mutexHandle);
				  }
			  } else {
				  // Buffer wasn't actually ready, release mutex
				  xSemaphoreGive(buffer_mutexHandle);
			  }
		  }
	  }
  }
  /* USER CODE END Ethernet_StartTask */
}

void HAL_TIM_PeriodElapsedCallback(TIM_HandleTypeDef *htim)
{
  if (htim->Instance == TIM6) {
    HAL_IncTick();
  }
  /* USER CODE BEGIN Callback 1 */
  if (htim == &htim3) {
	  if (HAL_SPI_GetState(&hspi1) == HAL_SPI_STATE_READY) {
		  HAL_GPIO_WritePin(CS_GPIO_Port, CS_Pin, GPIO_PIN_RESET); // CS LOW
		  HAL_SPI_TransmitReceive_IT(&hspi1, txBuf, rxBuf, 7); // Start SPI transfer
	  }
  }
  static uint8_t index = 0;
  if (htim == &htim2) {
	  __HAL_TIM_SET_COMPARE(&htim8, TIM_CHANNEL_3, sineLookup[index]);
	  //__HAL_TIM_SET_COMPARE(&htim8, TIM_CHANNEL_3, 80);

	  //printf("Duty cycle : %d\n",sineLookup[index] );
	  index = (index + 1) % SINE_SAMPLES;
	  //HAL_GPIO_TogglePin(LD1_GPIO_Port, LD1_Pin);  // Debug pin
  }

  /* USER CODE END Callback 1 */
}

void Error_Handler(void)
{
  __disable_irq();
  while (1)
  {
  }
}
